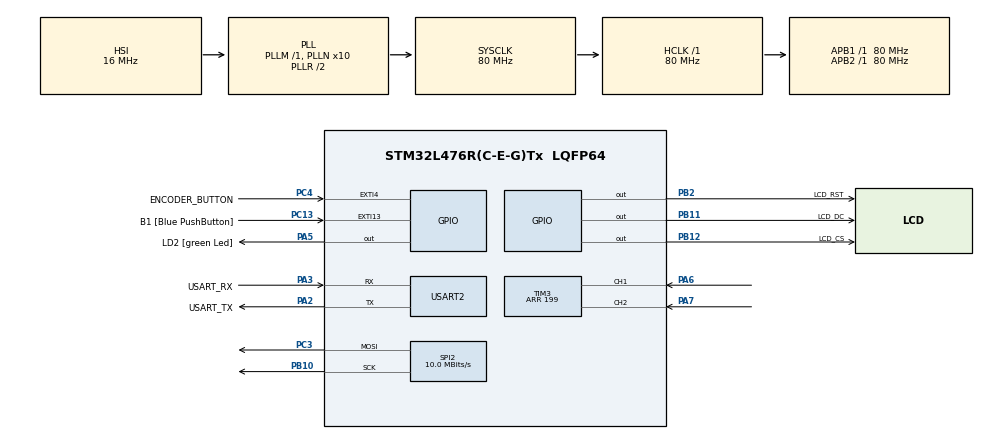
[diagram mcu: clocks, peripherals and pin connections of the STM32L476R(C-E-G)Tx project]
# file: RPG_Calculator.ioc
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Dma.Request0=SPI2_TX
Dma.SPI2_TX.0.Direction=DMA_MEMORY_TO_PERIPH
Dma.SPI2_TX.0.Instance=DMA1_Channel5
Dma.SPI2_TX.0.MemDataAlignment=DMA_MDATAALIGN_BYTE
Dma.SPI2_TX.0.MemInc=DMA_MINC_ENABLE
Dma.SPI2_TX.0.Mode=DMA_NORMAL
Dma.SPI2_TX.0.PeriphDataAlignment=DMA_PDATAALIGN_BYTE
Dma.SPI2_TX.0.PeriphInc=DMA_PINC_DISABLE
Dma.SPI2_TX.0.Priority=DMA_PRIORITY_LOW
Mcu.Family=STM32L4
Mcu.Name=STM32L476R(C-E-G)Tx
Mcu.Package=LQFP64
NVIC.DMA1_Channel5_IRQn=true\:0\:0\:false\:false\:true\:false\:true\:true
NVIC.EXTI4_IRQn=true\:4\:0\:true\:false\:true\:true\:true\:true
NVIC.PriorityGroup=NVIC_PRIORITYGROUP_4
NVIC.TIM3_IRQn=true\:4\:0\:true\:false\:true\:true\:true\:true
NVIC.TIM6_DAC_IRQn=true\:2\:0\:true\:false\:true\:true\:true\:true
NVIC.TIM7_IRQn=true\:12\:0\:true\:false\:true\:true\:true\:true
PA13\ (JTMS-SWDIO).GPIO_Label=TMS
PA13\ (JTMS-SWDIO).Mode=Serial_Wire
PA13\ (JTMS-SWDIO).Signal=SYS_JTMS-SWDIO
PA14\ (JTCK-SWCLK).GPIO_Label=TCK
PA14\ (JTCK-SWCLK).Mode=Serial_Wire
PA14\ (JTCK-SWCLK).Signal=SYS_JTCK-SWCLK
PA2.GPIO_Label=USART_TX
PA2.GPIO_Mode=GPIO_MODE_AF_PP
PA2.GPIO_PuPd=GPIO_NOPULL
PA2.GPIO_Speed=GPIO_SPEED_FREQ_VERY_HIGH
PA2.Mode=Asynchronous
PA2.Signal=USART2_TX
PA3.GPIO_Label=USART_RX
PA3.GPIO_Mode=GPIO_MODE_AF_PP
PA3.GPIO_PuPd=GPIO_NOPULL
PA3.GPIO_Speed=GPIO_SPEED_FREQ_VERY_HIGH
PA3.Mode=Asynchronous
PA3.Signal=USART2_RX
PA5.GPIO_Label=LD2 [green Led]
PA5.GPIO_ModeDefaultOutputPP=GPIO_MODE_OUTPUT_PP
PA5.GPIO_PuPd=GPIO_NOPULL
PA5.GPIO_Speed=GPIO_SPEED_FREQ_LOW
PA5.Signal=GPIO_Output
PA6.Signal=S_TIM3_CH1
PA7.Signal=S_TIM3_CH2
PB10.Mode=TX_Only_Simplex_Unidirect_Master
PB10.Signal=SPI2_SCK
PB11.GPIO_Label=LCD_DC
PB11.Signal=GPIO_Output
PB12.GPIO_Label=LCD_CS
PB12.PinState=GPIO_PIN_SET
PB12.Signal=GPIO_Output
PB2.GPIO_Label=LCD_RST
PB2.Signal=GPIO_Output
PB3\ (JTDO-TRACESWO).GPIO_Label=SWO
PB3\ (JTDO-TRACESWO).Signal=SYS_JTDO-SWO
PC13.GPIO_Label=B1 [Blue PushButton]
PC13.GPIO_ModeDefaultEXTI=GPIO_MODE_IT_FALLING
PC13.GPIO_PuPd=GPIO_NOPULL
PC13.Signal=GPXTI13
PC14-OSC32_IN\ (PC14).Mode=LSE-External-Oscillator
PC14-OSC32_IN\ (PC14).Signal=RCC_OSC32_IN
PC15-OSC32_OUT\ (PC15).Mode=LSE-External-Oscillator
PC15-OSC32_OUT\ (PC15).Signal=RCC_OSC32_OUT
PC3.Mode=TX_Only_Simplex_Unidirect_Master
PC3.Signal=SPI2_MOSI
PC4.GPIO_Label=ENCODER_BUTTON
PC4.GPIO_ModeDefaultEXTI=GPIO_MODE_IT_FALLING
PC4.GPIO_PuPd=GPIO_PULLUP
PC4.Signal=GPXTI4
PH0-OSC_IN\ (PH0).Signal=RCC_OSC_IN
PH1-OSC_OUT\ (PH1).Signal=RCC_OSC_OUT
ProjectManager.HeapSize=0x200
ProjectManager.StackSize=0x400
ProjectManager.TargetToolchain=STM32CubeIDE
RCC.ADCFreq_Value=64000000
RCC.AHBFreq_Value=80000000
RCC.APB1Freq_Value=80000000
RCC.APB1TimFreq_Value=80000000
RCC.APB2Freq_Value=80000000
RCC.APB2TimFreq_Value=80000000
RCC.CortexFreq_Value=80000000
RCC.HCLKFreq_Value=80000000
RCC.HSE_VALUE=8000000
RCC.HSI_VALUE=16000000
RCC.MSI_VALUE=4000000
RCC.PLLN=10
RCC.PLLSourceVirtual=RCC_PLLSOURCE_HSI
RCC.PREFETCH_ENABLE=1
RCC.SYSCLKFreq_VALUE=80000000
RCC.SYSCLKSource=RCC_SYSCLKSOURCE_PLLCLK
RCC.USBFreq_Value=64000000
RCC.VCOOutputFreq_Value=160000000
SH.S_TIM3_CH1.0=TIM3_CH1,Encoder_Interface
SH.S_TIM3_CH2.0=TIM3_CH2,Encoder_Interface
SPI2.BaudRatePrescaler=SPI_BAUDRATEPRESCALER_8
SPI2.CalculateBaudRate=10.0 MBits/s
SPI2.DataSize=SPI_DATASIZE_8BIT
SPI2.Direction=SPI_DIRECTION_2LINES
SPI2.Mode=SPI_MODE_MASTER
SPI2.NSSPMode=SPI_NSS_PULSE_DISABLE
SPI2.VirtualType=VM_MASTER
TIM3.ClockDivision=TIM_CLOCKDIVISION_DIV1
TIM3.IC1Filter=0
TIM3.IC1Prescaler=TIM_ICPSC_DIV1
TIM3.IC2Filter=0
TIM3.IC2Prescaler=TIM_ICPSC_DIV1
TIM3.Period=199
TIM6.Period=499
TIM6.Prescaler=7999
TIM7.Period=100
TIM7.Prescaler=7999
USART2.VirtualMode-Asynchronous=VM_ASYNC
VP_TIM6_VS_ClockSourceINT.Mode=Enable_Timer
VP_TIM7_VS_ClockSourceINT.Mode=Enable_Timer
board=NUCLEO-L476RG

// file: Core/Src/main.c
/* USER CODE BEGIN Header */
/**
  ******************************************************************************
  * @file           : main.c
  * @brief          : Main program body
  ******************************************************************************
  * @attention
  *
  * Copyright (c) 2024 STMicroelectronics.
  * All rights reserved.
  *
  * This software is licensed under terms that can be found in the LICENSE file
  * in the root directory of this software component.
  * If no LICENSE file comes with this software, it is provided AS-IS.
  *
  ******************************************************************************
  */
/* USER CODE END Header */
#include "main.h"
#include "dma.h"
#include "spi.h"
#include "tim.h"
#include "usart.h"
#include "gpio.h"

/* USER CODE BEGIN Includes */
#include "hagl.h"
#include "font6x9.h"
#include "rgb565.h"
#include <stdint.h>
#include "images.h"
#include <stdio.h>
#include <wchar.h>
#include <math.h>
#include <string.h>
/* USER CODE END Includes */

/* USER CODE BEGIN PD */
#define DEBOUNCE_DELAY 50
/* USER CODE END PD */

/* USER CODE BEGIN PV */

// variable indicating current state of the program. Used in switch case in main loop
typedef enum {
	STATE_INIT,
	STATE_WAITING_FOR_ATK_DICE,
	STATE_WAITING_FOR_DEF_DICE,
	STATE_ATTACK_MISSED_DELAY,
	STATE_WAITING_FOR_HP,
	STATE_WAITING_FOR_ARMOR,
	STATE_WAITING_FOR_DMG,
	STATE_WAITING_FOR_LOCATION,
	STATE_WAITING_FOR_REDUCTION,
	STATE_CALCULATION
} ProgramState;

// variables to be input by user and calculated by program
volatile static uint8_t rollATK = 0;
volatile static uint8_t rollDEF = 0;
volatile static uint8_t targetHP = 0;
volatile static uint8_t targetARMOR = 0;
volatile static uint8_t enteredDMG = 0;
volatile static float locationMultiplier = 0;
volatile static float armorTypeMultiplier = 0;
volatile static uint8_t critDMG = 0;
volatile static float totalDMG = 0;

// initial state of the program
static ProgramState state = STATE_INIT;

// variables needed to use button as interruption, featuring debouncing
static volatile uint32_t lastDebounceTime = 0;
static volatile bool debounceActive = false;
static volatile bool buttonConfirm = false;
//static volatile bool buttonPressed = false;

// variables needed to use encoder for input data and navigate through program
volatile int32_t encoder_value = 0;
int16_t prev_encoder_value = 0;

/* USER CODE END PV */

void SystemClock_Config(void);

/* USER CODE BEGIN 0 */

// function for sending text using UART (i.e to PC, mainly for debugging)
int __io_putchar(int ch)
{
	if (ch == '\n')
		__io_putchar('\r');

	HAL_UART_Transmit(&huart2, (uint8_t*)&ch, 1, HAL_MAX_DELAY);
	return 1;
}

// function to check how many digits value has (used in displaying digits on LCD)
int howManyDigits(double value)
{
	// if value == 0, then 1 digit
	if (!value)
		return 1;
	else
		return (int)log10(fabs(value)) + 1;;
}

// val - value to be coverted into string
// *text - pointer to string text that will be attached before value
// color - color of whole text, x0,y0 - starting point of "drawing" text on screen
void textStringCombiner(int32_t val, const wchar_t *text, color_t color, int16_t x0, int16_t y0)
{

		if ( howManyDigits(encoder_value) != howManyDigits(prev_encoder_value) )
			hagl_fill_rectangle(wcslen(text)*6+6, y0, wcslen(text)*6+6 + 3*6, y0 + 9, BLACK); 	// "delete" additional digit when number of digits change (10 -> 9)

		wchar_t buffer[16];																		// declaration of string that will contain value "val"
		wchar_t result[32] = L""; 																// empty string initialization

		swprintf(buffer, sizeof(buffer) / sizeof(buffer[0]), L" %d", val);						// enter "val" to string "buffer"

		wcscat(result, text);																	// input "text" in "result" string
		wcscat(result, buffer);																	// add "buffer" string (val) to "result" string
		hagl_put_text(result, x0, y0, color, font6x9);											// draw it on the screen using input coordinates

}

//void HAL_GPIO_EXTI_Callback(uint16_t GPIO_Pin)
//{
//	if (GPIO_Pin == ENCODER_BUTTON_Pin) {
//		if (!debounceActive) {
//			debounceActive = true;
//			lastDebounceTime = HAL_GetTick();
//			buttonPressed = HAL_GPIO_ReadPin(ENCODER_BUTTON_GPIO_Port, ENCODER_BUTTON_Pin);
//		}
//	}
//}

//void HAL_TIM_PeriodElapsedCallback(TIM_HandleTypeDef *htim)
//{
//	if (htim == &htim6) { //Timer nr 6 is used for refreshing screen
//		lcd_copy(); // update LCD (send buffer from i.e hagl_put_text)
//	} else if (htim == &htim7) {
//		uint32_t currentTime = HAL_GetTick();
//
//		if (debounceActive && (currentTime - lastDebounceTime >= DEBOUNCE_DELAY)) {
//			debounceActive = false;
//
//			bool currentButtonState = HAL_GPIO_ReadPin(ENCODER_BUTTON_GPIO_Port, ENCODER_BUTTON_Pin);
//
//			if (currentButtonState == buttonPressed) {
//				if (buttonPressed) {
//					buttonConfirm = true;
//				}
//			}
//
//		}
//
//	}
//}

void HAL_GPIO_EXTI_Callback(uint16_t GPIO_Pin)
{
	if (GPIO_Pin == ENCODER_BUTTON_Pin) {
		if (!debounceActive) {
			debounceActive = true;
			lastDebounceTime = HAL_GetTick();
			buttonConfirm = true;
		}
	}
}

void HAL_TIM_PeriodElapsedCallback(TIM_HandleTypeDef *htim)
{
	if (htim == &htim6) { //Timer nr 6 is used for refreshing screen
		lcd_copy(); // update LCD (send buffer from i.e hagl_put_text)
	} else if (htim == &htim7) {
		uint32_t currentTime = HAL_GetTick();

		if (debounceActive && (currentTime - lastDebounceTime >= DEBOUNCE_DELAY)) {
			debounceActive = false;
		}
	}
}

void HAL_TIM_IC_CaptureCallback(TIM_HandleTypeDef *htim)
{
	if (htim == &htim3) {
		encoder_value = __HAL_TIM_GET_COUNTER(&htim3)/2;
	}
}
/* USER CODE END 0 */

int main(void)
{

  /* MCU Configuration--------------------------------------------------------*/

  /* Reset of all peripherals, Initializes the Flash interface and the Systick. */
  HAL_Init();

  /* Configure the system clock */
  SystemClock_Config();

  /* Initialize all configured peripherals */
  MX_GPIO_Init();
  MX_DMA_Init();
  MX_USART2_UART_Init();
  MX_SPI2_Init();
  MX_TIM3_Init();
  MX_TIM6_Init();
  MX_TIM7_Init();

  /* Infinite loop */
  /* USER CODE BEGIN WHILE */
  lcd_init();

  HAL_TIM_Base_Start_IT(&htim6);
  HAL_TIM_Base_Start(&htim3);
  HAL_TIM_Encoder_Start_IT(&htim3, TIM_CHANNEL_ALL);
  HAL_TIM_Base_Start_IT(&htim7);

  bitmap_t bitmap_intro;
  init_bitmap(&bitmap_intro, image_intro, image_intro_size, LCD_WIDTH, LCD_HEIGHT);
  hagl_blit(0, 0, &bitmap_intro);
  //lcd_copy();
  HAL_Delay(500);
  hagl_clear_screen();
  //lcd_copy();

  while (1)
  {
	  switch (state)
	  {
	  case STATE_INIT:
		  hagl_put_text(L"Enter ATK roll:", 5, 5, YELLOW, font6x9);
		  state = STATE_WAITING_FOR_ATK_DICE;
		  break;

	  case STATE_WAITING_FOR_ATK_DICE:

		  if (encoder_value != prev_encoder_value) { 													// code below executed only if value of encoder has beem changed
			  textStringCombiner(encoder_value, L"Enter ATK roll:", YELLOW, 5, 5);
			  prev_encoder_value = encoder_value;
		  }

			if (buttonConfirm) {
				buttonConfirm = false;
				rollATK = encoder_value;
				hagl_put_text(L"Enter DEF roll: ", 5, 15, YELLOW, font6x9); 							// po to zeby wysweetlic przed ruszeniem enkoderem
				state = STATE_WAITING_FOR_DEF_DICE;
			}
		  //hagl_put_text(L"Enter ATK roll:", 10, 10, YELLOW, font6x9);
		  break;

	  case STATE_WAITING_FOR_DEF_DICE:

		if (encoder_value != prev_encoder_value) {
			textStringCombiner(encoder_value, L"Enter DEF roll:", YELLOW, 5, 15);
			prev_encoder_value = encoder_value;
		}

		  if (buttonConfirm) {
			  buttonConfirm = false;
			  rollDEF = encoder_value;
			  //state = NEXT_STEP;

			  if (rollATK <= rollDEF) {
				  state = STATE_ATTACK_MISSED_DELAY;
				  hagl_clear_screen();
				  encoder_value = 0; // zerowanie nie dziala
				  rollATK = 0;
				  rollDEF = 0;

			  } else {
				  hagl_put_text(L"Enter target's HP:", 5, 25, YELLOW, font6x9);
				  state = STATE_WAITING_FOR_HP;
			  }
		  }
		  break;

	  case STATE_ATTACK_MISSED_DELAY:
		  hagl_put_text(L"--- ATTACK MISSED ---", 18, LCD_HEIGHT/2-5, GREEN, font6x9);

		  if (buttonConfirm) {
			  buttonConfirm = false;
			  hagl_clear_screen();
			  state = STATE_INIT;
		  }
		  break;

	  case STATE_WAITING_FOR_HP:

		if (encoder_value != prev_encoder_value) {
			textStringCombiner(encoder_value, L"Enter target's HP:", YELLOW, 5, 25);
			prev_encoder_value = encoder_value;
		}

		  if (buttonConfirm) {
			  buttonConfirm = false;
			  targetHP = encoder_value;
			  hagl_put_text(L"Enter target's ARMOR:", 5, 35, YELLOW, font6x9);
			  state = STATE_WAITING_FOR_ARMOR;
		  }
		  break;

	  case STATE_WAITING_FOR_ARMOR:

		if (encoder_value != prev_encoder_value) {
			textStringCombiner(encoder_value, L"Enter target's ARMOR:", YELLOW, 5, 35);
			prev_encoder_value = encoder_value;
		}

		  if (buttonConfirm) {
			  buttonConfirm = false;
			  targetARMOR = encoder_value;
			  hagl_put_text(L"Enter total DMG:", 5, 45, YELLOW, font6x9);
			  state = STATE_WAITING_FOR_DMG;
		  }
		  break;

	  case STATE_WAITING_FOR_DMG:

		if (encoder_value != prev_encoder_value) {
			textStringCombiner(encoder_value, L"Enter total DMG:", YELLOW, 5, 45);
			prev_encoder_value = encoder_value;
		}

		  if (buttonConfirm) {
			  buttonConfirm = false;
			  enteredDMG = encoder_value;
			  hagl_put_text(L"Enter location of attack:", 5, 55, YELLOW, font6x9);
			  hagl_put_text(L"x1/2", 10, 67, YELLOW, font6x9);
			  hagl_put_text(L"x1", 75, 67, YELLOW, font6x9);
			  hagl_put_text(L"x3", 135, 67, YELLOW, font6x9);
			  state = STATE_WAITING_FOR_LOCATION;
		  }
		  break;

	  case STATE_WAITING_FOR_LOCATION:

		  if ( (encoder_value % 3) == 0) {
			  hagl_draw_rounded_rectangle(8, 65, 9+4*6+2, 65+11, 1, GREEN);
			  hagl_draw_rounded_rectangle(73, 65, 74+2*6+1, 65+11, 1, BLACK);
			  hagl_draw_rounded_rectangle(133, 65, 134+2*6+2, 65+11, 1, BLACK);
		  } else if ( (encoder_value % 3) == 1) {
			  hagl_draw_rounded_rectangle(73, 65, 74+2*6+1, 65+11, 1, GREEN);
			  hagl_draw_rounded_rectangle(8, 65, 9+4*6+2, 65+11, 1, BLACK);
			  hagl_draw_rounded_rectangle(133, 65, 134+2*6+2, 65+11, 1, BLACK);
		  } else {
			  hagl_draw_rounded_rectangle(133, 65, 134+2*6+2, 65+11, 1, GREEN);
			  hagl_draw_rounded_rectangle(8, 65, 9+4*6+2, 65+11, 1, BLACK);
			  hagl_draw_rounded_rectangle(73, 65, 74+2*6+1, 65+11, 1, BLACK);
		  }

		  if (buttonConfirm) {
			  buttonConfirm = false;

			  if ( (encoder_value % 3) == 0) {
				  locationMultiplier = 0.5;
			  } else if ( (encoder_value % 3) == 1) {
				  locationMultiplier = 1;
			  } else {
				  locationMultiplier = 3;
			  }

			  hagl_put_text(L"Enter armor multiplier:", 5, 81, YELLOW, font6x9);
			  hagl_put_text(L"x1/2", 10, 81+12, YELLOW, font6x9);
			  hagl_put_text(L"x1", 75, 81+12, YELLOW, font6x9);
			  hagl_put_text(L"x2", 135, 81+12, YELLOW, font6x9);
			  state = STATE_WAITING_FOR_REDUCTION;
		  }

		  break;

	  case STATE_WAITING_FOR_REDUCTION:

		  if ( (encoder_value % 3) == 0) {
			  hagl_draw_rounded_rectangle(8, 91, 9+4*6+2, 91+11, 1, GREEN);
			  hagl_draw_rounded_rectangle(73, 91, 74+2*6+1, 91+11, 1, BLACK);
			  hagl_draw_rounded_rectangle(133, 91, 134+2*6+2, 91+11, 1, BLACK);
		  } else if ( (encoder_value % 3) == 1) {
			  hagl_draw_rounded_rectangle(73, 91, 74+2*6+1, 91+11, 1, GREEN);
			  hagl_draw_rounded_rectangle(8, 91, 9+4*6+2, 91+11, 1, BLACK);
			  hagl_draw_rounded_rectangle(133, 91, 134+2*6+2, 91+11, 1, BLACK);
		  } else {
			  hagl_draw_rounded_rectangle(133, 91, 134+2*6+2, 91+11, 1, GREEN);
			  hagl_draw_rounded_rectangle(8, 91, 9+4*6+2, 91+11, 1, BLACK);
			  hagl_draw_rounded_rectangle(73, 91, 74+2*6+1, 91+11, 1, BLACK);
		  }

		  if (buttonConfirm) {
			  buttonConfirm = false;

			  if ( (encoder_value % 3) == 0) {
				  armorTypeMultiplier = 0.5;
			  } else if ( (encoder_value % 3) == 1) {
				  armorTypeMultiplier = 1;
			  } else {
				  armorTypeMultiplier = 2;
			  }

			  state = STATE_CALCULATION;

		  }

		  break;

	  case STATE_CALCULATION:

		  if ( (rollATK - rollDEF >= 7) && (rollATK - rollDEF <= 9) ) {
			  critDMG = 3;
		  } else if ( (rollATK - rollDEF >= 10) && (rollATK - rollDEF <= 12) ) {
			  critDMG = 5;
		  } else if ( (rollATK - rollDEF >= 13) && (rollATK - rollDEF <= 14) ) {
			  critDMG = 8;
		  } else if ( rollATK - rollDEF >= 15 ) {
			  critDMG = 10;
		  }

		  totalDMG = floor(floor((enteredDMG - targetARMOR) * armorTypeMultiplier) * locationMultiplier) + critDMG;

		  hagl_draw_line(0, 103, LCD_WIDTH, 103, YELLOW);

		  if (totalDMG > 0) {
			  textStringCombiner(totalDMG, L"TOTAL DMG:", RED, 5, 107);
			  textStringCombiner( (targetHP - totalDMG), L"HP left:", RED, 85, 107);

			  switch (critDMG) {
			  case 3:
				  hagl_put_text(L"LIGHT CRITICAL WOUND", 5, 117, RED, font6x9);
				  break;

			  case 5:
				  hagl_put_text(L"MEDIUM CRITICAL WOUND", 5, 117, RED, font6x9);
				  break;

			  case 8:
				  hagl_put_text(L"HEAVY CRITICAL WOUND", 5, 117, RED, font6x9);
				  break;

			  case 10:
				  hagl_put_text(L"DEADLY CRITICAL WOUND", 5, 117, RED, font6x9);
				  break;
			  default:
				  break;
			  }

		  } else {
			  textStringCombiner(0, L"TOTAL DMG:", GREEN, 5, 107);
		  }

		  if (buttonConfirm) {
			  buttonConfirm = false;
			  totalDMG = 0;
			  critDMG = 0;
			  enteredDMG = 0;
			  targetARMOR = 0;
			  armorTypeMultiplier = 0;
			  locationMultiplier = 0;
			  hagl_clear_screen();
			  state = STATE_INIT;
		  }

		  break;

		  }
    /* USER CODE END WHILE */

  }
}

void SystemClock_Config(void)
{
  RCC_OscInitTypeDef RCC_OscInitStruct = {0};
  RCC_ClkInitTypeDef RCC_ClkInitStruct = {0};

  /** Configure the main internal regulator output voltage
  */
  if (HAL_PWREx_ControlVoltageScaling(PWR_REGULATOR_VOLTAGE_SCALE1) != HAL_OK)
  {
    Error_Handler();
  }

  /** Initializes the RCC Oscillators according to the specified parameters
  * in the RCC_OscInitTypeDef structure.
  */
  RCC_OscInitStruct.OscillatorType = RCC_OSCILLATORTYPE_HSI;
  RCC_OscInitStruct.HSIState = RCC_HSI_ON;
  RCC_OscInitStruct.HSICalibrationValue = RCC_HSICALIBRATION_DEFAULT;
  RCC_OscInitStruct.PLL.PLLState = RCC_PLL_ON;
  RCC_OscInitStruct.PLL.PLLSource = RCC_PLLSOURCE_HSI;
  RCC_OscInitStruct.PLL.PLLM = 1;
  RCC_OscInitStruct.PLL.PLLN = 10;
  RCC_OscInitStruct.PLL.PLLP = RCC_PLLP_DIV7;
  RCC_OscInitStruct.PLL.PLLQ = RCC_PLLQ_DIV2;
  RCC_OscInitStruct.PLL.PLLR = RCC_PLLR_DIV2;
  if (HAL_RCC_OscConfig(&RCC_OscInitStruct) != HAL_OK)
  {
    Error_Handler();
  }

  /** Initializes the CPU, AHB and APB buses clocks
  */
  RCC_ClkInitStruct.ClockType = RCC_CLOCKTYPE_HCLK|RCC_CLOCKTYPE_SYSCLK
                              |RCC_CLOCKTYPE_PCLK1|RCC_CLOCKTYPE_PCLK2;
  RCC_ClkInitStruct.SYSCLKSource = RCC_SYSCLKSOURCE_PLLCLK;
  RCC_ClkInitStruct.AHBCLKDivider = RCC_SYSCLK_DIV1;
  RCC_ClkInitStruct.APB1CLKDivider = RCC_HCLK_DIV1;
  RCC_ClkInitStruct.APB2CLKDivider = RCC_HCLK_DIV1;

  if (HAL_RCC_ClockConfig(&RCC_ClkInitStruct, FLASH_LATENCY_4) != HAL_OK)
  {
    Error_Handler();
  }
}

void Error_Handler(void)
{
  __disable_irq();
  while (1)
  {
  }
}
